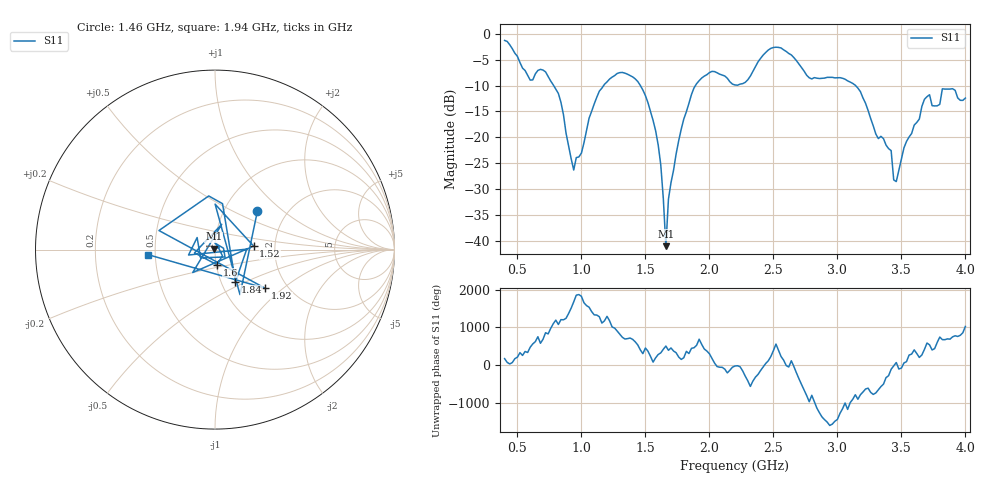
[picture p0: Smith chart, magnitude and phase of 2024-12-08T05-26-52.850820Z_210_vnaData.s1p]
!Created with skrf (http://scikit-rf.org).
# Hz S RI R 50.0
!freq ReS11 ImS11
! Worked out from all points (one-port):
!   181 points, 400 MHz to 4 GHz, reference 50 ohm
!   lowest |S11| = -41.0 dB at 1.66 GHz (marker M1), VSWR 1.02, Z = 49.3 + j0.55 ohm
!   |S11| at or under -10 dB: 783.3 MHz to 1.174 GHz (390.3 MHz wide, 39.9 % of centre); 1.461 GHz to 1.891 GHz (430 MHz wide, 25.7 % of centre); 3.142 GHz to end of sweep
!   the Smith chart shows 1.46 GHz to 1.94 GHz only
!   S11 on the Smith chart (normalised r, x): 1.46 GHz: 1.43, +0.68; 1.52 GHz: 1.55, +0.06; 1.6 GHz: 1.01, -0.17; 1.84 GHz: 1.17, -0.44; 1.92 GHz: 1.55, -0.76; 1.94 GHz: 0.46, -0.03
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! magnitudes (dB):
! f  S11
! 400 MHz  -1.3
! 600 MHz  -8.9
! 720 MHz  -7.4
! 860 MHz  -15.6
! 940 MHz  -26.3
! 1.14 GHz  -11.1
! 1.3 GHz  -7.5
! 1.46 GHz  -10.0
! 1.52 GHz  -13.3
! 1.6 GHz  -21.5
! 1.62 GHz  -25.3
! 1.66 GHz  -41.0
! 1.68 GHz  -31.9
! 1.76 GHz  -20.7
! 1.84 GHz  -13.4
! 1.92 GHz  -9.1
! 1.94 GHz  -8.5
! 2.2 GHz  -9.9
! 2.48 GHz  -2.8
! 2.66 GHz  -4.6
! 2.8 GHz  -8.7
! 3.1 GHz  -9.3
! 3.42 GHz  -22.6
! 3.44 GHz  -28.2
! 3.56 GHz  -19.9
! 3.72 GHz  -11.8
! 3.74 GHz  -13.9
! 4 GHz  -12.4
